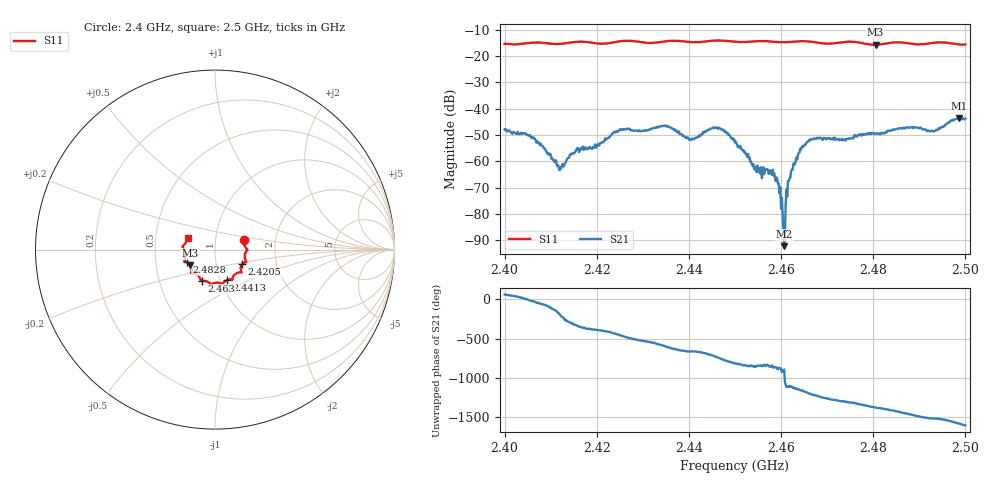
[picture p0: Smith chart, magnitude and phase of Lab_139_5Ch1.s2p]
# Hz S RI R 50
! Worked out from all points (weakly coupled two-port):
!   601 points, 2.4 GHz to 2.5 GHz, reference 50 ohm
!   highest |S21| = -43.60 dB at 2.4987 GHz (marker M1); lowest = -92.2 dB at 2.4607 GHz (marker M2)
!   lowest |S11| = -15.7 dB at 2.4805 GHz (marker M3), VSWR 1.39, Z = 37.3 - j6.67 ohm
!   |S11| at or under -10 dB: start of sweep to end of sweep
!   S12 and S22 are empty: the file has one direction only
!   S11 on the Smith chart (normalised r, x): 2.4 GHz: 1.38, +0.15; 2.4205 GHz: 1.34, -0.22; 2.4413 GHz: 1.08, -0.38; 2.463 GHz: 0.82, -0.29; 2.4828 GHz: 0.72, -0.10; 2.5 GHz: 0.73, +0.10
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2.4e9  0.1625 0.0524  0.00185 0.00358  0 0  0 0
2.406e9  0.1795 0.00111  0.00266 -0.00107  0 0  0 0
2.411833e9  0.1659 -0.0345  -0.000686 2.61e-06  0 0  0 0
2.416667e9  0.1737 -0.0695  0.00173 0.00022  0 0  0 0
2.4205e9  0.1517 -0.0808  0.00167 -0.00107  0 0  0 0
2.425333e9  0.1472 -0.1232  -0.000824 -0.00397  0 0  0 0
2.433333e9  0.1002 -0.1517  -0.00387 0.00213  0 0  0 0
2.441333e9  0.0673 -0.1697  0.00146 0.00234  0 0  0 0
2.446167e9  0.0418 -0.1929  0.00411 -0.00133  0 0  0 0
2.45e9  0.0247 -0.1853  -0.000184 -0.00227  0 0  0 0
2.454667e9  -0.0147 -0.1904  -0.000376 -0.000502  0 0  0 0
2.458667e9  -0.0352 -0.1824  -0.000385 -0.000305  0 0  0 0
2.460667e9  -0.0528 -0.1747  -2.42e-05 -3.51e-06  0 0  0 0
2.462e9  -0.0649 -0.1732  0.000426 -0.000228  0 0  0 0
2.463e9  -0.0721 -0.1735  0.000526 -0.000693  0 0  0 0
2.466667e9  -0.0812 -0.1674  -0.00164 -0.00204  0 0  0 0
2.4805e9  -0.1382 -0.0869  0.00156 0.00302  0 0  0 0
2.482833e9  -0.1586 -0.0701  0.00265 0.00251  0 0  0 0
2.483333e9  -0.1625 -0.0684  0.00304 0.00223  0 0  0 0
2.493e9  -0.178 0.00964  0.000915 -0.00356  0 0  0 0
2.498667e9  -0.1584 0.0456  -0.00519 -0.00409  0 0  0 0
2.5e9  -0.1519 0.0642  -0.00621 -0.00176  0 0  0 0
